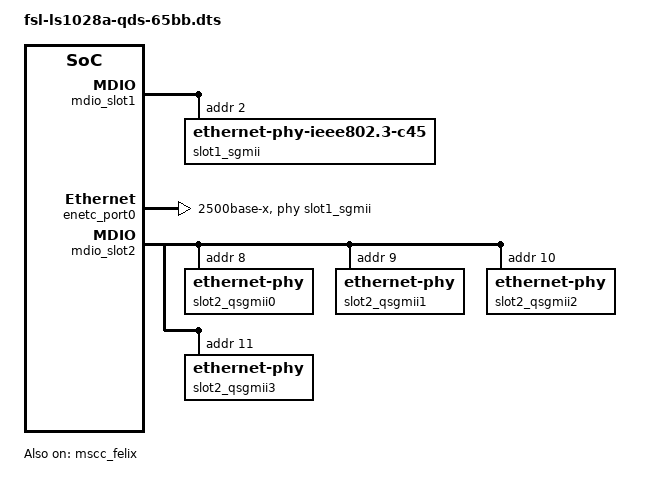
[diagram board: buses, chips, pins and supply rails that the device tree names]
// SPDX-License-Identifier: (GPL-2.0+ OR MIT)
/*
 * Device Tree fragment for LS1028A QDS board, serdes 69xx
 *
 * Copyright 2019-2021 NXP
 *
 * Requires a LS1028A QDS board with lane B rework.
 * Requires a SCH-30842 card in slot 1 and a SCH-28021 card in slot 2.
 */

/dts-v1/;
/plugin/;

&mdio_slot1 {
	#address-cells = <1>;
	#size-cells = <0>;

	slot1_sgmii: ethernet-phy@2 {
		/* AQR112 */
		reg = <0x2>;
		compatible = "ethernet-phy-ieee802.3-c45";
	};
};

&enetc_port0 {
	phy-handle = <&slot1_sgmii>;
	phy-mode = "2500base-x";
	status = "okay";
};

&mdio_slot2 {
	#address-cells = <1>;
	#size-cells = <0>;

	/* 4 ports on VSC8514 */
	slot2_qsgmii0: ethernet-phy@8 {
		reg = <0x8>;
	};

	slot2_qsgmii1: ethernet-phy@9 {
		reg = <0x9>;
	};

	slot2_qsgmii2: ethernet-phy@a {
		reg = <0xa>;
	};

	slot2_qsgmii3: ethernet-phy@b {
		reg = <0xb>;
	};
};

&mscc_felix_ports {
	port@0 {
		status = "okay";
		phy-handle = <&slot2_qsgmii0>;
		phy-mode = "qsgmii";
		managed = "in-band-status";
	};

	port@1 {
		status = "okay";
		phy-handle = <&slot2_qsgmii1>;
		phy-mode = "qsgmii";
		managed = "in-band-status";
	};

	port@2 {
		status = "okay";
		phy-handle = <&slot2_qsgmii2>;
		phy-mode = "qsgmii";
		managed = "in-band-status";
	};

	port@3 {
		status = "okay";
		phy-handle = <&slot2_qsgmii3>;
		phy-mode = "qsgmii";
		managed = "in-band-status";
	};
};

&mscc_felix {
	status = "okay";
};
